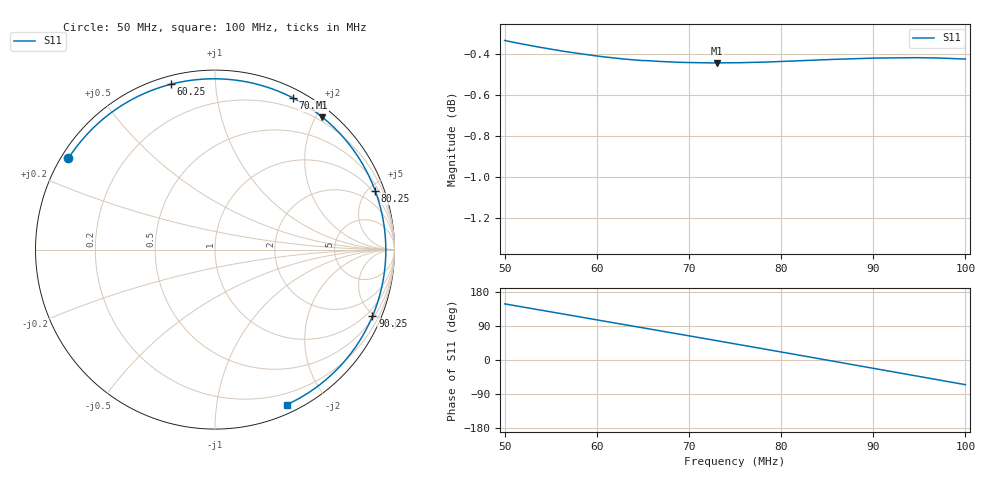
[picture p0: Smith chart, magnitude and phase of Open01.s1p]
!Agilent Technologies,E5072A,MY51200456,A.01.06
!Date: Thu Sep 03 20:58:11 2015
!Data & Calibration Information:
!Freq	S11:SOLT1(ON)
!PortZ  Port1:50+j0
!Above PortZ is port z conversion or system Z0 setting when saving the data.
!When reading, reference impedance value at option line is always used.
# Hz S dB R 50
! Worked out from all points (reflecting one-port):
!   201 points, 50 MHz to 100 MHz, reference 50 ohm
!   lowest |S11| = -0.4 dB at 73 MHz (marker M1), VSWR 39.01, Z = 6.87 + j104 ohm
!   phase of S11 starts at 148 deg and turns -213 deg over the sweep
!   S11 on the Smith chart (normalised r, x): 50 MHz: 0.02, +0.29; 60.25 MHz: 0.04, +0.77; 70.25 MHz: 0.09, +1.63; 80.25 MHz: 0.81, +5.51; 90.25 MHz: 0.61, -4.86; 100 MHz: 0.08, -1.56
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5e7  -0.34 148.1
5.15e7  -0.35 141.8
5.325e7  -0.36 134.5
5.625e7  -0.39 121.9
5.825e7  -0.40 113.4
6.025e7  -0.41 105.0
6.25e7  -0.42 95.6
6.4e7  -0.43 89.2
6.55e7  -0.43 82.9
6.7e7  -0.44 76.6
6.875e7  -0.44 69.1
7.025e7  -0.44 62.8
7.3e7  -0.45 51.1
7.5e7  -0.44 42.6
7.775e7  -0.44 30.9
8.025e7  -0.44 20.1
8.125e7  -0.44 15.9
8.3e7  -0.43 8.3
8.45e7  -0.43 1.9
8.6e7  -0.43 -4.6
8.75e7  -0.43 -11.0
9.025e7  -0.42 -22.9
9.2e7  -0.42 -30.5
9.375e7  -0.42 -38.1
9.525e7  -0.42 -44.5
9.7e7  -0.42 -52.1
9.85e7  -0.42 -58.6
1e8  -0.43 -65.1
